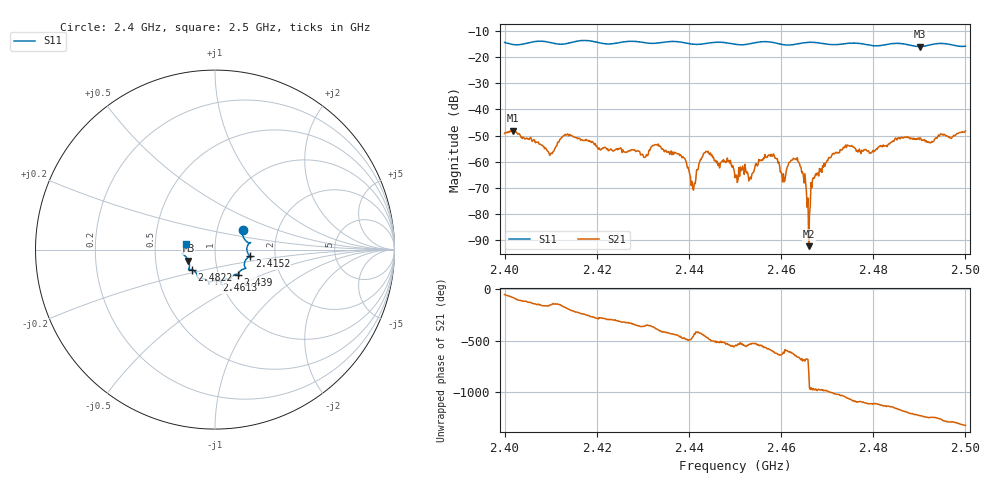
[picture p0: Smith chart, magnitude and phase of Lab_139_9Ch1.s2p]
# Hz S RI R 50
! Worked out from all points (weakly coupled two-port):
!   601 points, 2.4 GHz to 2.5 GHz, reference 50 ohm
!   highest |S21| = -48.07 dB at 2.4018 GHz (marker M1); lowest = -92.3 dB at 2.466 GHz (marker M2)
!   lowest |S11| = -15.9 dB at 2.4902 GHz (marker M3), VSWR 1.38, Z = 36.9 - j4.63 ohm
!   |S11| at or under -10 dB: start of sweep to end of sweep
!   S12 and S22 are empty: the file has one direction only
!   S11 on the Smith chart (normalised r, x): 2.4 GHz: 1.33, +0.31; 2.4152 GHz: 1.48, -0.11; 2.439 GHz: 1.24, -0.36; 2.4613 GHz: 0.96, -0.34; 2.4822 GHz: 0.76, -0.17; 2.5 GHz: 0.72, +0.05
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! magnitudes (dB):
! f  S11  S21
! 2.4 GHz  -14.4  -49.2
! 2.4018 GHz  -15.2  -48.1
! 2.41 GHz  -14.4  -56.9
! 2.4152 GHz  -14.1  -50.5
! 2.4167 GHz  -13.6  -51.6
! 2.4305 GHz  -14.5  -58.3
! 2.4333 GHz  -14.5  -53.2
! 2.439 GHz  -14.5  -58.7
! 2.441 GHz  -15.0  -70.9
! 2.4437 GHz  -14.8  -56.0
! 2.45 GHz  -15.0  -66.1
! 2.4578 GHz  -14.2  -57.2
! 2.4603 GHz  -15.2  -67.7
! 2.4613 GHz  -15.4  -62.0
! 2.4637 GHz  -14.9  -59.8
! 2.466 GHz  -14.3  -92.3
! 2.4667 GHz  -14.3  -69.9
! 2.474 GHz  -14.8  -53.6
! 2.4822 GHz  -15.4  -53.6
! 2.4833 GHz  -15.0  -53.2
! 2.4902 GHz  -15.9  -50.8
! 2.5 GHz  -15.8  -48.1
